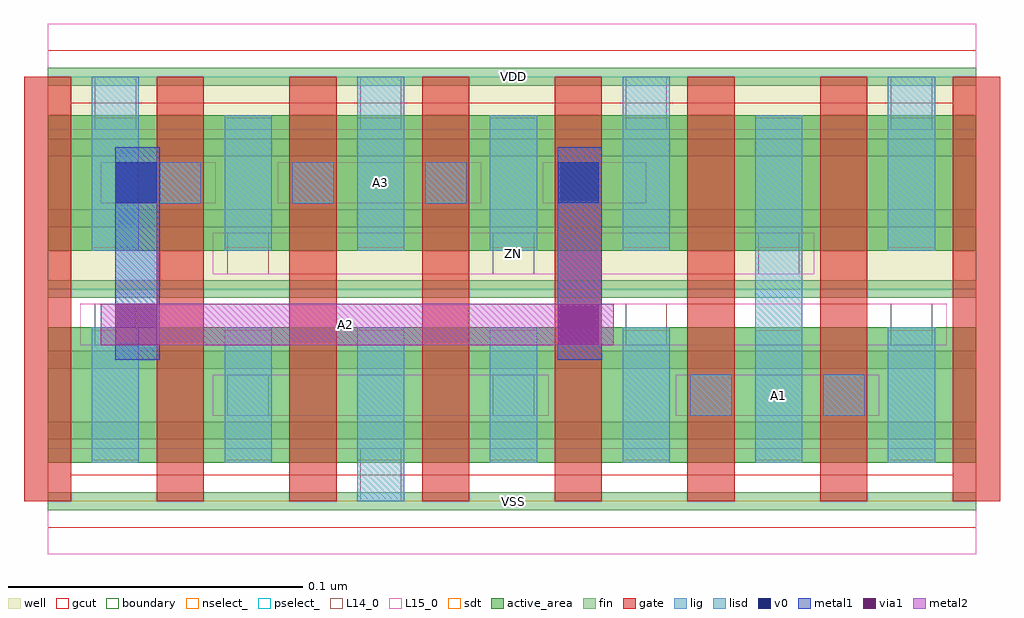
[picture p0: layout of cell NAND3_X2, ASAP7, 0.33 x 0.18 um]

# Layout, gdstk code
import gdstk
lib = gdstk.Library(unit=1e-6, precision=1e-09)
def R(c, l, rs):  # rectangles x0, y0, x1, y1
    for r in rs: c.add(gdstk.rectangle(r[:2], r[2:], *l))
def A(c, l, x, y, w, h, nx, ny, dx, dy):  # array of equal rectangles
    R(c, l, [(x+i*dx, y+j*dy, x+i*dx+w, y+j*dy+h) for i in range(nx) for j in range(ny)])
def P(c, l, *ps):  # polygons
    for p in ps: c.add(gdstk.Polygon(p, *l))
well = (1, 0)
fin = (2, 0)
gate = (7, 0)
gcut = (10, 0)
active_area = (11, 0)
nselect_ = (12, 0)
pselect_ = (13, 0)
L14_0 = (14, 0)
L15_0 = (15, 0)
lig = (16, 0)
lisd = (17, 0)
v0 = (18, 0)
metal1 = (19, 0)
metal2 = (20, 0)
via1 = (21, 0)
sdt = (88, 0)
boundary = (100, 0)

nand3_x2 = lib.new_cell('NAND3_X2')
R(nand3_x2, well, [(0,0.072,0.315,0.144)])
A(nand3_x2, fin, 0, -0.003, 0.315, 0.006, 1, 7, 0, 0.024)
A(nand3_x2, gate, -0.008, 0, 0.016, 0.144, 8, 1, 0.045, 0)
P(nand3_x2, gcut, [(0,-0.009),(0,0),(-0.008,0),(-0.008,0.135),(0.008,0.135),(0.008,0.009),(0.307,0.009),(0.307,0.135),(-0.008,0.135),(-0.008,0.144),(0,0.144),(0,0.153),(0.315,0.153),(0.315,0.144),(0.323,0.144),(0.323,0),(0.315,0),(0.315,-0.009)])
R(nand3_x2, active_area, [(0,0.013,0.315,0.059), (0,0.085,0.315,0.131)])
R(nand3_x2, nselect_, [(0,0,0.315,0.072)])
R(nand3_x2, pselect_, [(0,0.072,0.315,0.144)])
A(nand3_x2, L14_0, 0.061, 0.077, 0.014, 0.014, 3, 1, 0.09, 0)
A(nand3_x2, L14_0, 0.038, 0.101, 0.014, 0.014, 4, 1, 0.045, 0)
A(nand3_x2, L14_0, 0.016, 0.126, 0.014, 0.018, 4, 1, 0.09, 0)
R(nand3_x2, L14_0, [(0.106,0,0.12,0.018), (0.061,0.029,0.075,0.043), (0.151,0.029,0.165,0.043), (0.218,0.029,0.232,0.043), (0.263,0.029,0.277,0.043), (0.016,0.053,0.03,0.067), (0.196,0.053,0.21,0.067), (0.286,0.053,0.3,0.067)])
R(nand3_x2, L15_0, [(0,-0.018,0.315,0.018), (0.056,0.029,0.17,0.043), (0.213,0.029,0.282,0.043), (0.011,0.053,0.305,0.067), (0.056,0.077,0.26,0.091), (0.018,0.101,0.057,0.115), (0.078,0.101,0.147,0.115), (0.168,0.101,0.203,0.115), (0,0.126,0.315,0.162)])
A(nand3_x2, lig, 0.038, 0.101, 0.014, 0.014, 4, 1, 0.045, 0)
R(nand3_x2, lig, [(0.218,0.029,0.232,0.043), (0.263,0.029,0.277,0.043)])
A(nand3_x2, lisd, 0.015, 0.085, 0.016, 0.059, 4, 1, 0.09, 0)
R(nand3_x2, lisd, [(0.105,0,0.121,0.059), (0.015,0.013,0.031,0.059), (0.06,0.013,0.076,0.059), (0.15,0.013,0.166,0.059), (0.195,0.013,0.211,0.059), (0.24,0.013,0.256,0.131), (0.285,0.013,0.301,0.059), (0.06,0.085,0.076,0.131), (0.15,0.085,0.166,0.131)])
R(nand3_x2, v0, [(0.023,0.101,0.037,0.115), (0.173,0.101,0.187,0.115)])
R(nand3_x2, metal1, [(0.023,0.048,0.038,0.12), (0.173,0.048,0.188,0.12)])
R(nand3_x2, metal2, [(0.018,0.053,0.192,0.067)])
R(nand3_x2, via1, [(0.023,0.053,0.037,0.067), (0.173,0.053,0.187,0.067)])
A(nand3_x2, sdt, 0.015, 0.014, 0.016, 0.044, 7, 2, 0.045, 0.072)
R(nand3_x2, boundary, [(0,0,0.315,0.144)])
nand3_x2.add(gdstk.Label('A1', (0.248,0.036), layer=15, texttype=251))
nand3_x2.add(gdstk.Label('VSS', (0.158,0), layer=15, texttype=251))
nand3_x2.add(gdstk.Label('VDD', (0.158,0.144), layer=15, texttype=251))
nand3_x2.add(gdstk.Label('ZN', (0.158,0.084), layer=15, texttype=251))
nand3_x2.add(gdstk.Label('VSS', (0.158,0), layer=15, texttype=251))
nand3_x2.add(gdstk.Label('VDD', (0.158,0.144), layer=15, texttype=251))
nand3_x2.add(gdstk.Label('A3', (0.113,0.108), layer=15, texttype=251))
nand3_x2.add(gdstk.Label('VSS', (0.158,0), layer=15, texttype=251))
nand3_x2.add(gdstk.Label('VDD', (0.158,0.144), layer=15, texttype=251))
nand3_x2.add(gdstk.Label('VSS', (0.158,0), layer=15, texttype=251))
nand3_x2.add(gdstk.Label('VDD', (0.158,0.144), layer=15, texttype=251))
nand3_x2.add(gdstk.Label('VSS', (0.158,0), layer=3, texttype=251))
nand3_x2.add(gdstk.Label('VSS', (0.158,0), layer=3, texttype=251))
nand3_x2.add(gdstk.Label('VSS', (0.158,0), layer=3, texttype=251))
nand3_x2.add(gdstk.Label('VSS', (0.158,0), layer=3, texttype=251))
nand3_x2.add(gdstk.Label('VDD', (0.158,0.144), layer=1, texttype=251))
nand3_x2.add(gdstk.Label('VDD', (0.158,0.144), layer=1, texttype=251))
nand3_x2.add(gdstk.Label('VDD', (0.158,0.144), layer=1, texttype=251))
nand3_x2.add(gdstk.Label('VDD', (0.158,0.144), layer=1, texttype=251))
nand3_x2.add(gdstk.Label('A2', (0.101,0.06), layer=20, texttype=251))

lib.write_gds('NAND3_X2.gds')
